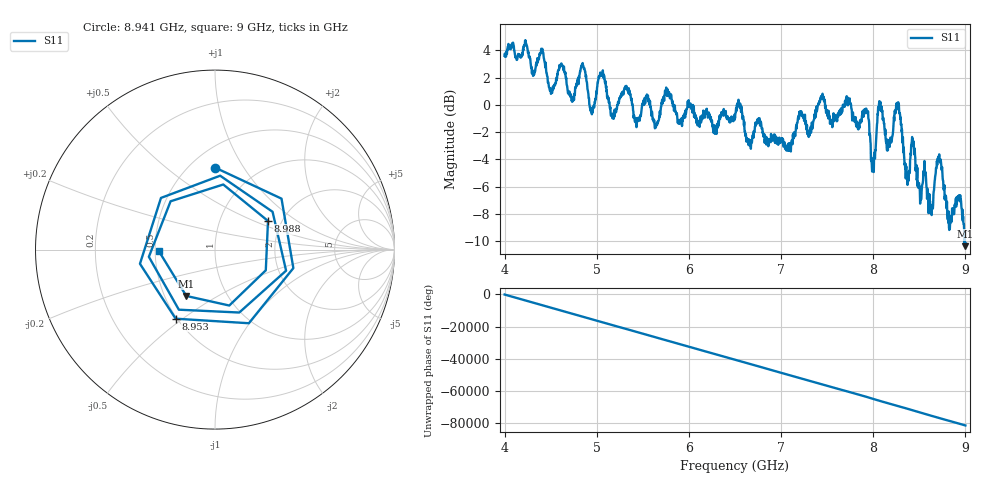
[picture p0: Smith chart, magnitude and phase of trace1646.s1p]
! Created with skrf 1.8.0 (http://scikit-rf.org).
# Hz S RI R 50.0
!freq ReS11 ImS11
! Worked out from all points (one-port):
!   1601 points, 4 GHz to 9 GHz, reference 50 ohm
!   lowest |S11| = -10.3 dB at 8.997 GHz (marker M1), VSWR 1.87, Z = 32.1 - j18.3 ohm
!   |S11| at or under -10 dB: 8.989909 GHz to 8.99301 GHz (3.101 MHz wide, 0.0345 % of centre); 8.994883 GHz to end of sweep
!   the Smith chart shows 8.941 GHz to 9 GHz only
!   S11 on the Smith chart (normalised r, x): 8.941 GHz: 0.66, +0.76; 8.953 GHz: 0.49, -0.47; 8.988 GHz: 1.70, +0.61; 9 GHz: 0.52, -0.01
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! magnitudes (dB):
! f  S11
! 4 GHz  3.6
! 4.403 GHz  3.8
! 4.506 GHz  0.9
! 4.625 GHz  2.9
! 4.734 GHz  0.2
! 4.853 GHz  2.9
! 4.947 GHz  -0.7
! 5.047 GHz  2.3
! 5.25 GHz  0.5
! 5.875 GHz  -1.1
! 6.5 GHz  -1.0
! 7.125 GHz  -2.9
! 7.75 GHz  0.1
! 7.931 GHz  -0.6
! 8 GHz  -4.5
! 8.072 GHz  0.0
! 8.159 GHz  -3.3
! 8.266 GHz  0.2
! 8.375 GHz  -5.5
! 8.431 GHz  -2.7
! 8.625 GHz  -7.7
! 8.716 GHz  -3.6
! 8.828 GHz  -8.8
! 8.941 GHz  -6.8
! 8.953 GHz  -7.1
! 8.988 GHz  -9.5
! 8.997 GHz  -10.3
! 9 GHz  -10.1
